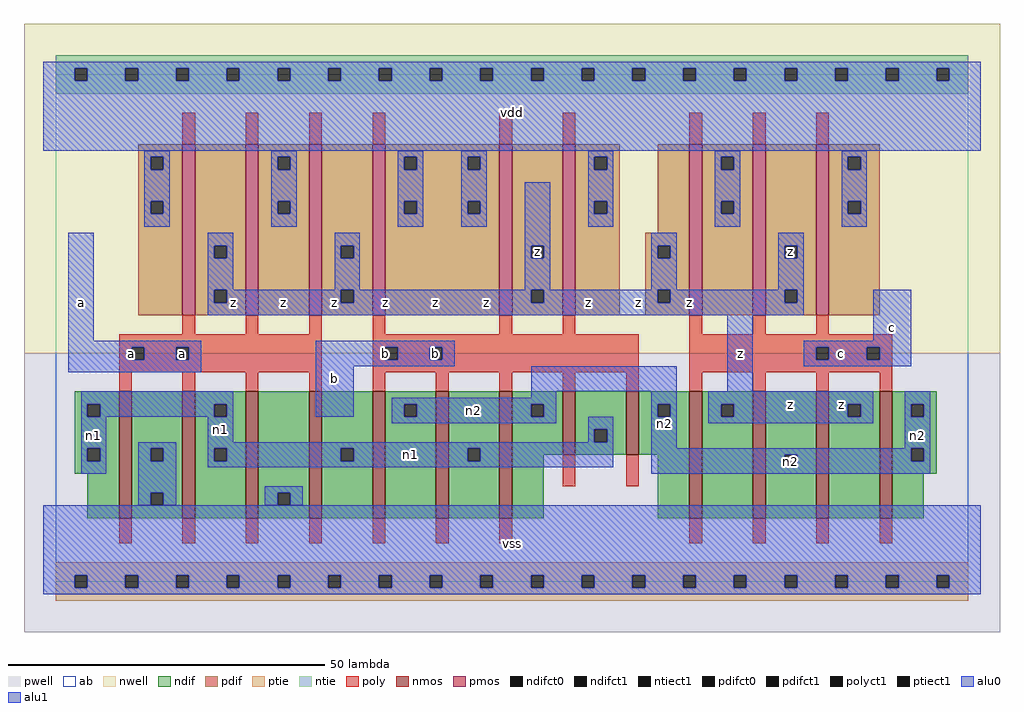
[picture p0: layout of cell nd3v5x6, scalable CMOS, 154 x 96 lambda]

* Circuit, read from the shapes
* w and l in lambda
.subckt nd3v5x6 a b c n1 n2 vdd vss z
M1 vss a n1 vss nfet w=20 l=2 m=4
M2 n2 b n1 vss nfet w=20 l=2 m=3
M3 n1 b n2 vss nfet w=10 l=2 m=2
M4 z c n2 vss nfet w=20 l=2 m=4
M5 z a vdd vdd pfet w=27 l=2 m=3
M6 vdd b z vdd pfet w=27 l=2 m=3
M7 vdd c z vdd pfet w=27 l=2 m=3
.ends

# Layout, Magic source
magic
tech scmos
<< ab >>
rect 0 0 144 80
<< nwell >>
rect -5 36 149 88
<< pwell >>
rect -5 -8 149 36
<< poly >>
rect 20 69 22 74
rect 30 69 32 74
rect 40 69 42 74
rect 50 69 52 74
rect 70 69 72 74
rect 80 69 82 74
rect 100 69 102 74
rect 110 69 112 74
rect 120 69 122 74
rect 20 39 22 42
rect 30 39 32 42
rect 40 39 42 42
rect 10 37 42 39
rect 10 35 12 37
rect 14 35 19 37
rect 21 35 42 37
rect 10 33 42 35
rect 10 30 12 33
rect 20 30 22 33
rect 30 30 32 33
rect 40 30 42 33
rect 50 39 52 42
rect 70 39 72 42
rect 80 39 82 42
rect 100 39 102 42
rect 110 39 112 42
rect 120 39 122 42
rect 50 37 92 39
rect 50 35 52 37
rect 54 35 59 37
rect 61 35 92 37
rect 50 33 92 35
rect 50 30 52 33
rect 60 30 62 33
rect 70 30 72 33
rect 80 30 82 33
rect 90 30 92 33
rect 100 37 132 39
rect 100 35 120 37
rect 122 35 128 37
rect 130 35 132 37
rect 100 33 132 35
rect 100 30 102 33
rect 110 30 112 33
rect 120 30 122 33
rect 130 30 132 33
rect 80 15 82 20
rect 90 15 92 20
rect 10 6 12 10
rect 20 6 22 10
rect 30 6 32 10
rect 40 6 42 10
rect 50 6 52 10
rect 60 6 62 10
rect 70 6 72 10
rect 100 6 102 10
rect 110 6 112 10
rect 120 6 122 10
rect 130 6 132 10
<< ndif >>
rect 3 28 10 30
rect 3 26 5 28
rect 7 26 10 28
rect 3 21 10 26
rect 3 19 5 21
rect 7 19 10 21
rect 3 17 10 19
rect 5 10 10 17
rect 12 21 20 30
rect 12 19 15 21
rect 17 19 20 21
rect 12 14 20 19
rect 12 12 15 14
rect 17 12 20 14
rect 12 10 20 12
rect 22 28 30 30
rect 22 26 25 28
rect 27 26 30 28
rect 22 21 30 26
rect 22 19 25 21
rect 27 19 30 21
rect 22 10 30 19
rect 32 14 40 30
rect 32 12 35 14
rect 37 12 40 14
rect 32 10 40 12
rect 42 21 50 30
rect 42 19 45 21
rect 47 19 50 21
rect 42 10 50 19
rect 52 28 60 30
rect 52 26 55 28
rect 57 26 60 28
rect 52 10 60 26
rect 62 21 70 30
rect 62 19 65 21
rect 67 19 70 21
rect 62 10 70 19
rect 72 28 80 30
rect 72 26 75 28
rect 77 26 80 28
rect 72 20 80 26
rect 82 24 90 30
rect 82 22 85 24
rect 87 22 90 24
rect 82 20 90 22
rect 92 28 100 30
rect 92 26 95 28
rect 97 26 100 28
rect 92 20 100 26
rect 72 10 77 20
rect 95 10 100 20
rect 102 28 110 30
rect 102 26 105 28
rect 107 26 110 28
rect 102 10 110 26
rect 112 20 120 30
rect 112 18 115 20
rect 117 18 120 20
rect 112 10 120 18
rect 122 28 130 30
rect 122 26 125 28
rect 127 26 130 28
rect 122 10 130 26
rect 132 28 139 30
rect 132 26 135 28
rect 137 26 139 28
rect 132 21 139 26
rect 132 19 135 21
rect 137 19 139 21
rect 132 17 139 19
rect 132 10 137 17
<< pdif >>
rect 13 67 20 69
rect 13 65 15 67
rect 17 65 20 67
rect 13 60 20 65
rect 13 58 15 60
rect 17 58 20 60
rect 13 42 20 58
rect 22 53 30 69
rect 22 51 25 53
rect 27 51 30 53
rect 22 46 30 51
rect 22 44 25 46
rect 27 44 30 46
rect 22 42 30 44
rect 32 67 40 69
rect 32 65 35 67
rect 37 65 40 67
rect 32 60 40 65
rect 32 58 35 60
rect 37 58 40 60
rect 32 42 40 58
rect 42 53 50 69
rect 42 51 45 53
rect 47 51 50 53
rect 42 46 50 51
rect 42 44 45 46
rect 47 44 50 46
rect 42 42 50 44
rect 52 67 70 69
rect 52 65 55 67
rect 57 65 65 67
rect 67 65 70 67
rect 52 60 70 65
rect 52 58 55 60
rect 57 58 65 60
rect 67 58 70 60
rect 52 42 70 58
rect 72 53 80 69
rect 72 51 75 53
rect 77 51 80 53
rect 72 46 80 51
rect 72 44 75 46
rect 77 44 80 46
rect 72 42 80 44
rect 82 67 89 69
rect 82 65 85 67
rect 87 65 89 67
rect 82 60 89 65
rect 82 58 85 60
rect 87 58 89 60
rect 82 42 89 58
rect 95 55 100 69
rect 93 53 100 55
rect 93 51 95 53
rect 97 51 100 53
rect 93 46 100 51
rect 93 44 95 46
rect 97 44 100 46
rect 93 42 100 44
rect 102 67 110 69
rect 102 65 105 67
rect 107 65 110 67
rect 102 60 110 65
rect 102 58 105 60
rect 107 58 110 60
rect 102 42 110 58
rect 112 53 120 69
rect 112 51 115 53
rect 117 51 120 53
rect 112 46 120 51
rect 112 44 115 46
rect 117 44 120 46
rect 112 42 120 44
rect 122 67 130 69
rect 122 65 125 67
rect 127 65 130 67
rect 122 60 130 65
rect 122 58 125 60
rect 127 58 130 60
rect 122 42 130 58
<< alu1 >>
rect -2 81 146 82
rect -2 79 3 81
rect 5 79 11 81
rect 13 79 19 81
rect 21 79 27 81
rect 29 79 35 81
rect 37 79 43 81
rect 45 79 51 81
rect 53 79 59 81
rect 61 79 67 81
rect 69 79 75 81
rect 77 79 83 81
rect 85 79 91 81
rect 93 79 99 81
rect 101 79 107 81
rect 109 79 115 81
rect 117 79 123 81
rect 125 79 131 81
rect 133 79 139 81
rect 141 79 146 81
rect -2 68 146 79
rect 2 38 6 55
rect 24 53 28 55
rect 24 51 25 53
rect 27 51 28 53
rect 24 46 28 51
rect 44 53 48 55
rect 44 51 45 53
rect 47 51 48 53
rect 44 46 48 51
rect 74 53 78 63
rect 74 51 75 53
rect 77 51 78 53
rect 74 46 78 51
rect 94 53 98 55
rect 94 51 95 53
rect 97 51 98 53
rect 94 46 98 51
rect 114 53 118 55
rect 114 51 115 53
rect 117 51 118 53
rect 114 46 118 51
rect 24 44 25 46
rect 27 44 45 46
rect 47 44 75 46
rect 77 44 95 46
rect 97 44 115 46
rect 117 44 118 46
rect 24 42 118 44
rect 2 37 23 38
rect 2 35 12 37
rect 14 35 19 37
rect 21 35 23 37
rect 2 33 23 35
rect 41 37 63 38
rect 41 35 52 37
rect 54 35 59 37
rect 61 35 63 37
rect 41 34 63 35
rect 41 26 47 34
rect 106 30 110 42
rect 129 38 135 46
rect 118 37 135 38
rect 118 35 120 37
rect 122 35 128 37
rect 130 35 135 37
rect 118 34 135 35
rect 103 28 129 30
rect 103 26 105 28
rect 107 26 125 28
rect 127 26 129 28
rect 103 25 129 26
rect -2 1 146 12
rect -2 -1 3 1
rect 5 -1 11 1
rect 13 -1 19 1
rect 21 -1 27 1
rect 29 -1 35 1
rect 37 -1 43 1
rect 45 -1 51 1
rect 53 -1 59 1
rect 61 -1 67 1
rect 69 -1 75 1
rect 77 -1 83 1
rect 85 -1 91 1
rect 93 -1 99 1
rect 101 -1 107 1
rect 109 -1 115 1
rect 117 -1 123 1
rect 125 -1 131 1
rect 133 -1 139 1
rect 141 -1 146 1
rect -2 -2 146 -1
<< ptie >>
rect 0 1 144 3
rect 0 -1 3 1
rect 5 -1 11 1
rect 13 -1 19 1
rect 21 -1 27 1
rect 29 -1 35 1
rect 37 -1 43 1
rect 45 -1 51 1
rect 53 -1 59 1
rect 61 -1 67 1
rect 69 -1 75 1
rect 77 -1 83 1
rect 85 -1 91 1
rect 93 -1 99 1
rect 101 -1 107 1
rect 109 -1 115 1
rect 117 -1 123 1
rect 125 -1 131 1
rect 133 -1 139 1
rect 141 -1 144 1
rect 0 -3 144 -1
<< ntie >>
rect 0 81 144 83
rect 0 79 3 81
rect 5 79 11 81
rect 13 79 19 81
rect 21 79 27 81
rect 29 79 35 81
rect 37 79 43 81
rect 45 79 51 81
rect 53 79 59 81
rect 61 79 67 81
rect 69 79 75 81
rect 77 79 83 81
rect 85 79 91 81
rect 93 79 99 81
rect 101 79 107 81
rect 109 79 115 81
rect 117 79 123 81
rect 125 79 131 81
rect 133 79 139 81
rect 141 79 144 81
rect 0 77 144 79
<< nmos >>
rect 10 10 12 30
rect 20 10 22 30
rect 30 10 32 30
rect 40 10 42 30
rect 50 10 52 30
rect 60 10 62 30
rect 70 10 72 30
rect 80 20 82 30
rect 90 20 92 30
rect 100 10 102 30
rect 110 10 112 30
rect 120 10 122 30
rect 130 10 132 30
<< pmos >>
rect 20 42 22 69
rect 30 42 32 69
rect 40 42 42 69
rect 50 42 52 69
rect 70 42 72 69
rect 80 42 82 69
rect 100 42 102 69
rect 110 42 112 69
rect 120 42 122 69
<< polyct1 >>
rect 12 35 14 37
rect 19 35 21 37
rect 52 35 54 37
rect 59 35 61 37
rect 120 35 122 37
rect 128 35 130 37
<< ndifct0 >>
rect 5 26 7 28
rect 5 19 7 21
rect 15 19 17 21
rect 15 12 17 14
rect 25 26 27 28
rect 25 19 27 21
rect 35 12 37 14
rect 45 19 47 21
rect 55 26 57 28
rect 65 19 67 21
rect 75 26 77 28
rect 85 22 87 24
rect 95 26 97 28
rect 115 18 117 20
rect 135 26 137 28
rect 135 19 137 21
<< ndifct1 >>
rect 105 26 107 28
rect 125 26 127 28
<< ntiect1 >>
rect 3 79 5 81
rect 11 79 13 81
rect 19 79 21 81
rect 27 79 29 81
rect 35 79 37 81
rect 43 79 45 81
rect 51 79 53 81
rect 59 79 61 81
rect 67 79 69 81
rect 75 79 77 81
rect 83 79 85 81
rect 91 79 93 81
rect 99 79 101 81
rect 107 79 109 81
rect 115 79 117 81
rect 123 79 125 81
rect 131 79 133 81
rect 139 79 141 81
<< ptiect1 >>
rect 3 -1 5 1
rect 11 -1 13 1
rect 19 -1 21 1
rect 27 -1 29 1
rect 35 -1 37 1
rect 43 -1 45 1
rect 51 -1 53 1
rect 59 -1 61 1
rect 67 -1 69 1
rect 75 -1 77 1
rect 83 -1 85 1
rect 91 -1 93 1
rect 99 -1 101 1
rect 107 -1 109 1
rect 115 -1 117 1
rect 123 -1 125 1
rect 131 -1 133 1
rect 139 -1 141 1
<< pdifct0 >>
rect 15 65 17 67
rect 15 58 17 60
rect 35 65 37 67
rect 35 58 37 60
rect 55 65 57 67
rect 65 65 67 67
rect 55 58 57 60
rect 65 58 67 60
rect 85 65 87 67
rect 85 58 87 60
rect 105 65 107 67
rect 105 58 107 60
rect 125 65 127 67
rect 125 58 127 60
<< pdifct1 >>
rect 25 51 27 53
rect 25 44 27 46
rect 45 51 47 53
rect 45 44 47 46
rect 75 51 77 53
rect 75 44 77 46
rect 95 51 97 53
rect 95 44 97 46
rect 115 51 117 53
rect 115 44 117 46
<< alu0 >>
rect 14 67 18 68
rect 14 65 15 67
rect 17 65 18 67
rect 14 60 18 65
rect 14 58 15 60
rect 17 58 18 60
rect 14 56 18 58
rect 34 67 38 68
rect 34 65 35 67
rect 37 65 38 67
rect 34 60 38 65
rect 34 58 35 60
rect 37 58 38 60
rect 34 56 38 58
rect 54 67 58 68
rect 54 65 55 67
rect 57 65 58 67
rect 54 60 58 65
rect 54 58 55 60
rect 57 58 58 60
rect 54 56 58 58
rect 64 67 68 68
rect 64 65 65 67
rect 67 65 68 67
rect 64 60 68 65
rect 84 67 88 68
rect 84 65 85 67
rect 87 65 88 67
rect 64 58 65 60
rect 67 58 68 60
rect 64 56 68 58
rect 84 60 88 65
rect 84 58 85 60
rect 87 58 88 60
rect 84 56 88 58
rect 104 67 108 68
rect 104 65 105 67
rect 107 65 108 67
rect 104 60 108 65
rect 104 58 105 60
rect 107 58 108 60
rect 104 56 108 58
rect 124 67 128 68
rect 124 65 125 67
rect 127 65 128 67
rect 124 60 128 65
rect 124 58 125 60
rect 127 58 128 60
rect 124 56 128 58
rect 4 28 28 30
rect 4 26 5 28
rect 7 26 25 28
rect 27 26 28 28
rect 75 30 98 34
rect 75 29 79 30
rect 53 28 79 29
rect 53 26 55 28
rect 57 26 75 28
rect 77 26 79 28
rect 94 28 98 30
rect 94 26 95 28
rect 97 26 98 28
rect 4 21 8 26
rect 24 22 28 26
rect 53 25 79 26
rect 84 24 88 26
rect 84 22 85 24
rect 87 22 88 24
rect 4 19 5 21
rect 7 19 8 21
rect 4 17 8 19
rect 13 21 19 22
rect 13 19 15 21
rect 17 19 19 21
rect 13 14 19 19
rect 24 21 88 22
rect 24 19 25 21
rect 27 19 45 21
rect 47 19 65 21
rect 67 19 88 21
rect 24 18 88 19
rect 94 21 98 26
rect 134 28 138 30
rect 134 26 135 28
rect 137 26 138 28
rect 134 21 138 26
rect 94 20 135 21
rect 94 18 115 20
rect 117 19 135 20
rect 137 19 138 21
rect 117 18 138 19
rect 94 17 138 18
rect 13 12 15 14
rect 17 12 19 14
rect 33 14 39 15
rect 33 12 35 14
rect 37 12 39 14
<< labels >>
rlabel alu0 6 23 6 23 6 n1
rlabel alu0 26 24 26 24 6 n1
rlabel alu0 66 27 66 27 6 n2
rlabel alu0 56 20 56 20 6 n1
rlabel alu0 96 25 96 25 6 n2
rlabel ndifct0 116 19 116 19 6 n2
rlabel alu0 136 23 136 23 6 n2
rlabel alu1 4 44 4 44 6 a
rlabel alu1 12 36 12 36 6 a
rlabel polyct1 20 36 20 36 6 a
rlabel alu1 44 32 44 32 6 b
rlabel alu1 28 44 28 44 6 z
rlabel alu1 44 44 44 44 6 z
rlabel alu1 52 44 52 44 6 z
rlabel alu1 52 36 52 36 6 b
rlabel alu1 36 44 36 44 6 z
rlabel alu1 72 6 72 6 6 vss
rlabel alu1 60 44 60 44 6 z
rlabel polyct1 60 36 60 36 6 b
rlabel alu1 84 44 84 44 6 z
rlabel alu1 68 44 68 44 6 z
rlabel pdifct1 76 52 76 52 6 z
rlabel alu1 72 74 72 74 6 vdd
rlabel alu1 92 44 92 44 6 z
rlabel alu1 100 44 100 44 6 z
rlabel alu1 108 36 108 36 6 z
rlabel alu1 116 28 116 28 6 z
rlabel alu1 124 28 124 28 6 z
rlabel alu1 132 40 132 40 6 c
rlabel alu1 124 36 124 36 6 c
rlabel pdifct1 116 52 116 52 6 z
<< end >>
